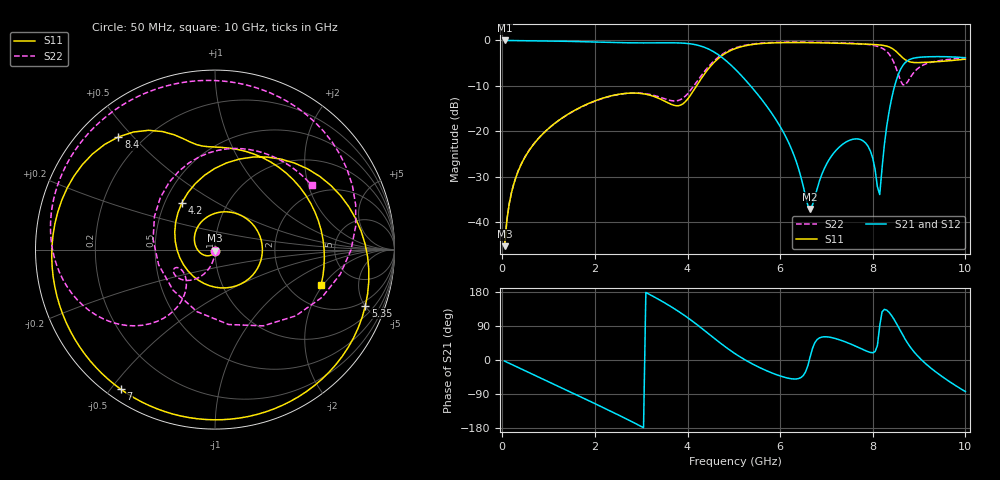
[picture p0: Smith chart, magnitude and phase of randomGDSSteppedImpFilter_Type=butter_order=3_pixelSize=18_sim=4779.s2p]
! freq	dB(S11)	phase(S11)	dB(S12)	phase(S12)
!  dB(S21)	phase(S21)	dB(S22)	phase(S22)
!S-par simulation data
#  GHz  S  DB  R 50
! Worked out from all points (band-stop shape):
!   200 points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, 50 MHz to 10 GHz, reference 50 ohm
!   highest |S21| = -0.01 dB at 50 MHz (marker M1); lowest = -37.0 dB at 6.65 GHz (marker M2)
!   |S21| within 3 dB of the highest: start of sweep to 4.645 GHz
!   lowest |S11| = -45.2 dB at 50 MHz (marker M3), VSWR 1.01, Z = 50 - j0.548 ohm
!   |S11| at or under -10 dB: start of sweep to 4.193 GHz
!   |S22| runs from -45.1 to -0.4 dB; largest |S21 - S12| = 0
!   S11 on the Smith chart (normalised r, x): 50 MHz: 1.00, -0.01; 4.2 GHz: 0.61, +0.36; 5.35 GHz: 1.62, -5.05; 7 GHz: 0.04, -0.53; 8.4 GHz: 0.11, +0.46; 10 GHz: 2.99, -1.90
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0.05  -45.21 -91.9  -0.01 -2.9  -0.01 -2.9  -45.13 -87.5
0.2  -33.42 -109.2  -0.02 -11.5  -0.02 -11.5  -33.33 -92.5
0.5  -25.47 -139.7  -0.05 -28.6  -0.05 -28.6  -25.40 -98.4
1.75  -14.38 99.7  -0.28 -100.5  -0.28 -100.5  -14.44 -122.1
2.65  -11.65 16.1  -0.50 -153.7  -0.50 -153.7  -11.67 -143.7
3.4  -12.82 -66.0  -0.53 158.3  -0.53 158.3  -12.46 -155.1
4.2  -9.89 125.0  -1.00 93.8  -1.00 93.8  -9.08 -123.1
4.6  -4.56 60.6  -2.71 55.0  -2.71 55.0  -4.24 -136.2
5.05  -1.72 7.2  -6.53 14.8  -6.53 14.8  -1.57 -163.1
5.35  -0.97 -20.4  -9.85 -7.1  -9.85 -7.1  -0.87 -180.0
5.95  -0.50 -63.6  -18.06 -40.0  -18.06 -40.0  -0.42 151.2
6.65  -0.49 -104.4  -37.04 9.3  -37.04 9.3  -0.39 120.9
6.7  -0.49 -107.2  -36.09 31.2  -36.09 31.2  -0.39 118.7
7  -0.55 -123.9  -27.21 61.2  -27.21 61.2  -0.44 105.2
7.75  -0.78 -170.2  -21.84 29.8  -21.84 29.8  -0.74 63.6
8.15  -0.99 157.4  -33.87 90.4  -33.87 90.4  -1.47 25.0
8.35  -1.42 136.4  -15.77 126.1  -15.77 126.1  -2.96 -11.2
8.4  -1.65 130.6  -13.10 118.4  -13.10 118.4  -3.71 -24.1
8.55  -2.85 114.0  -7.50 87.6  -7.50 87.6  -7.45 -79.7
8.75  -4.52 100.0  -4.46 44.9  -4.46 44.9  -9.13 170.6
9.15  -4.81 67.8  -3.61 -10.6  -3.61 -10.6  -5.14 88.2
10  -4.12 -18.2  -3.81 -83.3  -3.81 -83.3  -3.78 33.6
